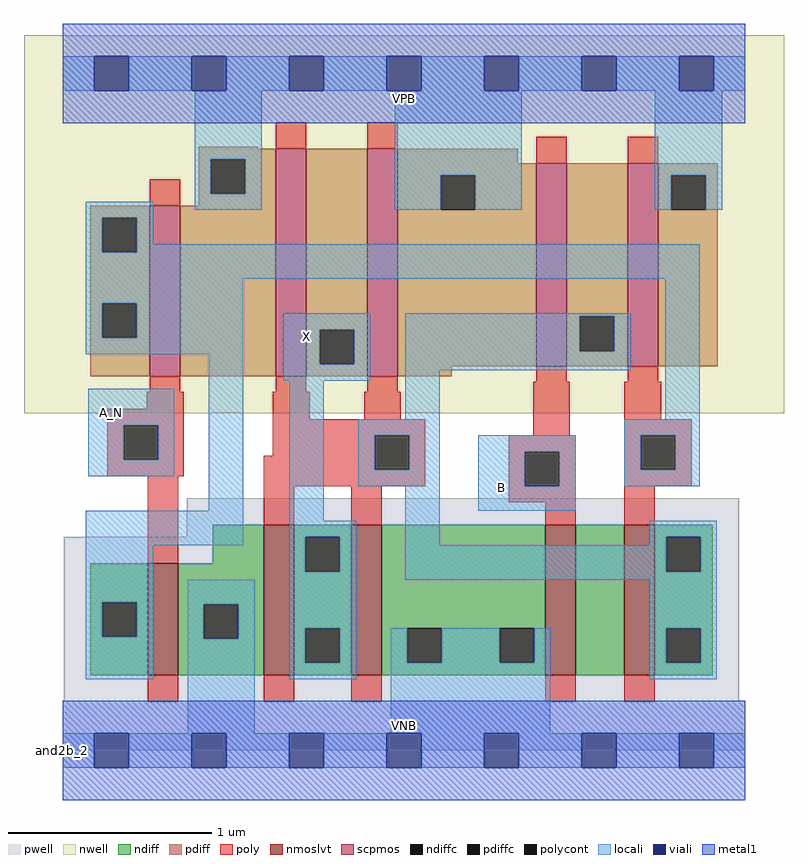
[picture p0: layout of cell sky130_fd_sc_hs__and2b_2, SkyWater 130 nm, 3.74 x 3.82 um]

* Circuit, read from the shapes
.subckt sky130_fd_sc_hs__and2b_2 A_N B VGND VNB VPB VPWR X
XM1 VGND A_N n1 VNB sky130_fd_pr__nfet_01v8_lvt w=0.55 l=0.15
XM2 X n2 VGND VNB sky130_fd_pr__nfet_01v8_lvt w=0.74 l=0.15 m=2
XM3 n3 B VGND VNB sky130_fd_pr__nfet_01v8_lvt w=0.74 l=0.15
XM4 n2 n1 n3 VNB sky130_fd_pr__nfet_01v8_lvt w=0.74 l=0.15
XM5 VPWR A_N n1 VPB sky130_fd_pr__pfet_01v8 w=0.84 l=0.15
XM6 X n2 VPWR VPB sky130_fd_pr__pfet_01v8 w=1.12 l=0.15 m=2
XM7 n2 B VPWR VPB sky130_fd_pr__pfet_01v8 w=1 l=0.15
XM8 VPWR n1 n2 VPB sky130_fd_pr__pfet_01v8 w=1 l=0.15
.ends

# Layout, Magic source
magic
tech sky130A
magscale 1 2
<< nwell >>
rect -38 332 710 704
<< pwell >>
rect 122 210 666 248
rect 1 49 666 210
rect 0 0 672 49
<< scpmos >>
rect 86 368 116 536
rect 210 368 240 592
rect 300 368 330 592
rect 466 378 496 578
rect 556 378 586 578
<< nmoslvt >>
rect 84 74 114 184
rect 198 74 228 222
rect 284 74 314 222
rect 475 74 505 222
rect 553 74 583 222
<< ndiff >>
rect 148 184 198 222
rect 27 146 84 184
rect 27 112 39 146
rect 73 112 84 146
rect 27 74 84 112
rect 114 144 198 184
rect 114 110 139 144
rect 173 110 198 144
rect 114 74 198 110
rect 228 210 284 222
rect 228 176 239 210
rect 273 176 284 210
rect 228 120 284 176
rect 228 86 239 120
rect 273 86 284 120
rect 228 74 284 86
rect 314 120 475 222
rect 314 86 339 120
rect 373 86 430 120
rect 464 86 475 120
rect 314 74 475 86
rect 505 74 553 222
rect 583 210 640 222
rect 583 176 594 210
rect 628 176 640 210
rect 583 120 640 176
rect 583 86 594 120
rect 628 86 640 120
rect 583 74 640 86
<< pdiff >>
rect 134 592 192 594
rect 134 582 210 592
rect 134 548 146 582
rect 180 548 210 582
rect 134 536 210 548
rect 27 524 86 536
rect 27 490 39 524
rect 73 490 86 524
rect 27 440 86 490
rect 27 406 39 440
rect 73 406 86 440
rect 27 368 86 406
rect 116 368 210 536
rect 240 414 300 592
rect 240 380 253 414
rect 287 380 300 414
rect 240 368 300 380
rect 330 578 448 592
rect 330 566 466 578
rect 330 532 372 566
rect 406 532 466 566
rect 330 378 466 532
rect 496 427 556 578
rect 496 393 509 427
rect 543 393 556 427
rect 496 378 556 393
rect 586 566 645 578
rect 586 532 599 566
rect 633 532 645 566
rect 586 378 645 532
rect 330 368 383 378
<< ndiffc >>
rect 39 112 73 146
rect 139 110 173 144
rect 239 176 273 210
rect 239 86 273 120
rect 339 86 373 120
rect 430 86 464 120
rect 594 176 628 210
rect 594 86 628 120
<< pdiffc >>
rect 146 548 180 582
rect 39 490 73 524
rect 39 406 73 440
rect 253 380 287 414
rect 372 532 406 566
rect 509 393 543 427
rect 599 532 633 566
<< poly >>
rect 210 592 240 618
rect 300 592 330 618
rect 86 536 116 562
rect 466 578 496 604
rect 556 578 586 604
rect 86 353 116 368
rect 210 353 240 368
rect 300 353 330 368
rect 466 363 496 378
rect 556 363 586 378
rect 83 336 119 353
rect 44 320 119 336
rect 44 286 60 320
rect 94 286 119 320
rect 207 326 243 353
rect 297 326 333 353
rect 207 310 357 326
rect 463 310 499 363
rect 553 326 589 363
rect 553 310 619 326
rect 207 290 307 310
rect 44 270 119 286
rect 198 276 307 290
rect 341 276 357 310
rect 84 184 114 270
rect 198 260 357 276
rect 439 294 505 310
rect 439 260 455 294
rect 489 260 505 294
rect 198 222 228 260
rect 284 222 314 260
rect 439 244 505 260
rect 475 222 505 244
rect 553 276 569 310
rect 603 276 619 310
rect 553 260 619 276
rect 553 222 583 260
rect 84 48 114 74
rect 198 48 228 74
rect 284 48 314 74
rect 475 48 505 74
rect 553 48 583 74
<< polycont >>
rect 60 286 94 320
rect 307 276 341 310
rect 455 260 489 294
rect 569 276 603 310
<< locali >>
rect 0 649 31 683
rect 65 649 127 683
rect 161 649 223 683
rect 257 649 319 683
rect 353 649 415 683
rect 449 649 511 683
rect 545 649 607 683
rect 641 649 672 683
rect 130 582 196 649
rect 130 548 146 582
rect 180 548 196 582
rect 23 524 89 540
rect 130 532 196 548
rect 327 566 452 649
rect 327 532 372 566
rect 406 532 452 566
rect 583 566 649 649
rect 583 532 599 566
rect 633 532 649 566
rect 23 490 39 524
rect 73 498 89 524
rect 73 490 627 498
rect 23 464 627 490
rect 23 440 178 464
rect 23 406 39 440
rect 73 406 178 440
rect 23 390 178 406
rect 25 320 110 356
rect 25 286 60 320
rect 94 286 110 320
rect 25 270 110 286
rect 144 236 178 390
rect 217 414 303 430
rect 217 380 253 414
rect 287 380 303 414
rect 217 364 303 380
rect 337 427 559 430
rect 337 393 509 427
rect 543 393 559 427
rect 337 374 559 393
rect 23 202 178 236
rect 223 226 257 364
rect 337 326 371 374
rect 593 326 627 464
rect 291 310 371 326
rect 553 310 627 326
rect 291 276 307 310
rect 341 276 371 310
rect 291 260 371 276
rect 223 210 289 226
rect 23 146 89 202
rect 223 176 239 210
rect 273 176 289 210
rect 23 112 39 146
rect 73 112 89 146
rect 23 70 89 112
rect 123 144 189 168
rect 123 110 139 144
rect 173 110 189 144
rect 123 17 189 110
rect 223 120 289 176
rect 337 202 371 260
rect 409 294 505 310
rect 409 260 455 294
rect 489 260 505 294
rect 553 276 569 310
rect 603 276 627 310
rect 553 260 627 276
rect 409 236 505 260
rect 578 210 644 226
rect 578 202 594 210
rect 337 176 594 202
rect 628 176 644 210
rect 337 168 644 176
rect 578 120 644 168
rect 223 86 239 120
rect 273 86 289 120
rect 223 70 289 86
rect 323 86 339 120
rect 373 86 430 120
rect 464 86 480 120
rect 323 17 480 86
rect 578 86 594 120
rect 628 86 644 120
rect 578 70 644 86
rect 0 -17 31 17
rect 65 -17 127 17
rect 161 -17 223 17
rect 257 -17 319 17
rect 353 -17 415 17
rect 449 -17 511 17
rect 545 -17 607 17
rect 641 -17 672 17
<< viali >>
rect 31 649 65 683
rect 127 649 161 683
rect 223 649 257 683
rect 319 649 353 683
rect 415 649 449 683
rect 511 649 545 683
rect 607 649 641 683
rect 31 -17 65 17
rect 127 -17 161 17
rect 223 -17 257 17
rect 319 -17 353 17
rect 415 -17 449 17
rect 511 -17 545 17
rect 607 -17 641 17
<< metal1 >>
rect 0 683 672 715
rect 0 649 31 683
rect 65 649 127 683
rect 161 649 223 683
rect 257 649 319 683
rect 353 649 415 683
rect 449 649 511 683
rect 545 649 607 683
rect 641 649 672 683
rect 0 617 672 649
rect 0 17 672 49
rect 0 -17 31 17
rect 65 -17 127 17
rect 161 -17 223 17
rect 257 -17 319 17
rect 353 -17 415 17
rect 449 -17 511 17
rect 545 -17 607 17
rect 641 -17 672 17
rect 0 -49 672 -17
<< labels >>
rlabel comment s 0 0 0 0 4 and2b_2
flabel pwell s 0 0 672 49 0 FreeSans 200 0 0 0 VNB
port 4 nsew ground bidirectional
flabel nwell s 0 617 672 666 0 FreeSans 200 0 0 0 VPB
port 5 nsew power bidirectional
flabel metal1 s 0 617 672 666 0 FreeSans 340 0 0 0 VPWR
port 6 nsew power bidirectional
flabel metal1 s 0 0 672 49 0 FreeSans 340 0 0 0 VGND
port 3 nsew ground bidirectional
flabel locali s 223 390 257 424 0 FreeSans 340 0 0 0 X
port 7 nsew signal output
flabel locali s 415 242 449 276 0 FreeSans 340 0 0 0 B
port 2 nsew signal input
flabel locali s 31 316 65 350 0 FreeSans 340 0 0 0 A_N
port 1 nsew signal input
<< properties >>
string LEFsite unit
string LEFclass CORE
string FIXED_BBOX 0 0 672 666
string GDS_FILE $PDKPATH/libs.ref/sky130_fd_sc_hs/gds/sky130_fd_sc_hs.gds
string LEFsymmetry X Y
string GDS_END 3243902
string GDS_START 3238452
<< end >>
